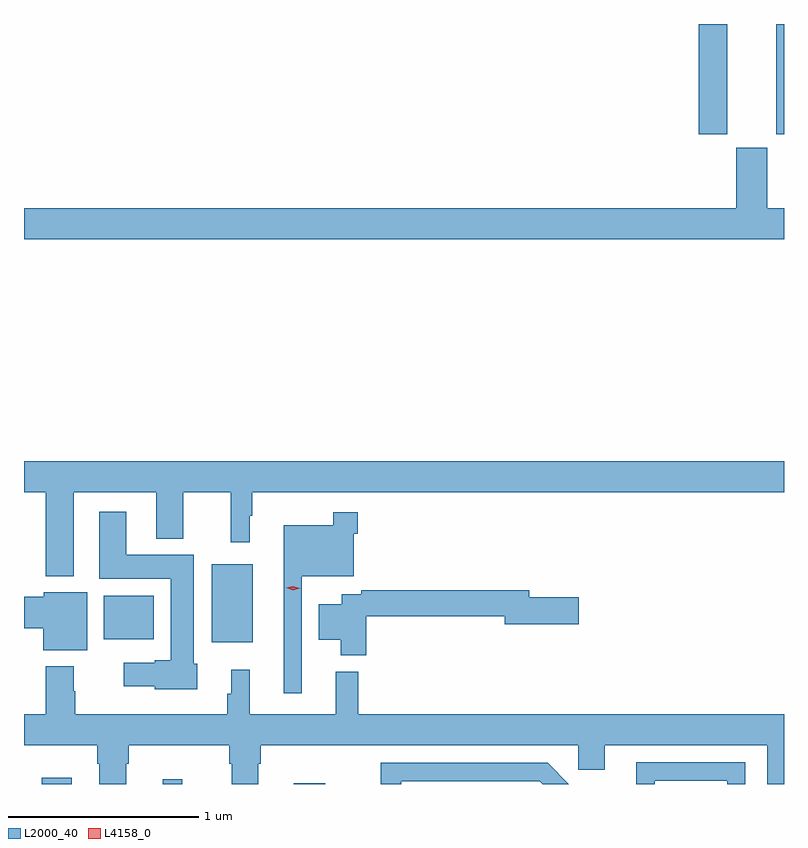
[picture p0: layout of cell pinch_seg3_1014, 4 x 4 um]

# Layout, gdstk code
import gdstk
lib = gdstk.Library(unit=1e-6, precision=1e-09)
def R(c, l, rs):  # rectangles x0, y0, x1, y1
    for r in rs: c.add(gdstk.rectangle(r[:2], r[2:], *l))
def P(c, l, *ps):  # polygons
    for p in ps: c.add(gdstk.Polygon(p, *l))
L2000_40 = (2000, 40)
L4158_0 = (4158, 0)

pinch_seg3_1014 = lib.new_cell('pinch_seg3_1014')
R(pinch_seg3_1014, L2000_40, [(508.118,675.405,508.276,675.439), (508.754,675.405,508.856,675.43), (509.444,675.405,509.61,675.409), (509.012,676.151,509.227,676.561), (508.445,676.166,508.708,676.396), (511.574,678.825,511.726,679.405), (511.982,678.825,512.024,679.405)])
P(pinch_seg3_1014, L2000_40, [(512.024,678.436),(511.936,678.436),(511.936,678.753),(511.772,678.753),(511.772,678.436),(508.024,678.436),(508.024,678.272),(512.024,678.272)],
  [(508.285,676.94),(508.721,676.94),(508.721,676.697),(508.861,676.697),(508.861,676.94),(509.113,676.94),(509.113,676.677),(509.212,676.677),(509.212,676.817),(509.224,676.817),(509.224,676.94),(512.024,676.94),(512.024,677.104),(508.024,677.104),(508.024,676.94),(508.138,676.94),(508.138,676.499),(508.285,676.499)],
  [(508.936,676.038),(508.918,676.038),(508.918,676.612),(508.561,676.612),(508.561,676.837),(508.421,676.837),(508.421,676.484),(508.796,676.484),(508.796,676.057),(508.713,676.057),(508.713,676.042),(508.548,676.042),(508.548,675.92),(508.713,675.92),(508.713,675.905),(508.936,675.905)],
  [(509.487,676.499),(509.76,676.499),(509.76,676.721),(509.78,676.721),(509.78,676.834),(509.652,676.834),(509.652,676.768),(509.39,676.768),(509.39,675.882),(509.487,675.882)],
  [(509.825,676.288),(510.554,676.288),(510.554,676.246),(510.943,676.246),(510.943,676.388),(510.682,676.388),(510.682,676.424),(509.8,676.424),(509.8,676.404),(509.696,676.404),(509.696,676.351),(509.576,676.351),(509.576,676.163),(509.69,676.163),(509.69,676.082),(509.825,676.082)],
  [(508.357,676.414),(508.128,676.414),(508.128,676.39),(508.024,676.39),(508.024,676.225),(508.124,676.225),(508.124,676.109),(508.357,676.109)],
  [(508.561,675.512),(508.574,675.512),(508.574,675.608),(509.105,675.608),(509.105,675.512),(509.117,675.512),(509.117,675.405),(509.257,675.405),(509.257,675.512),(509.27,675.512),(509.27,675.608),(510.942,675.608),(510.942,675.481),(511.081,675.481),(511.081,675.608),(511.937,675.608),(511.937,675.405),(512.024,675.405),(512.024,675.772),(509.783,675.772),(509.783,675.997),(509.666,675.997),(509.666,675.772),(509.213,675.772),(509.213,676.006),(509.114,676.006),(509.114,675.881),(509.095,675.881),(509.095,675.772),(508.293,675.772),(508.293,675.893),(508.285,675.893),(508.285,676.024),(508.138,676.024),(508.138,675.772),(508.024,675.772),(508.024,675.608),(508.409,675.608),(508.409,675.512),(508.421,675.512),(508.421,675.405),(508.561,675.405)],
  [(511.344,675.423),(511.725,675.423),(511.725,675.405),(511.821,675.405),(511.821,675.519),(511.247,675.519),(511.247,675.405),(511.344,675.405)],
  [(510.009,675.42),(510.738,675.42),(510.753,675.405),(510.891,675.405),(510.78,675.516),(509.901,675.516),(509.901,675.405),(510.009,675.405)])
P(pinch_seg3_1014, L4158_0, [(509.44,676.426),(509.405,676.438),(509.405,676.438),(509.405,676.438),(509.441,676.446),(509.476,676.435),(509.477,676.434),(509.476,676.434)])

lib.write_gds('pinch_seg3_1014.gds')
